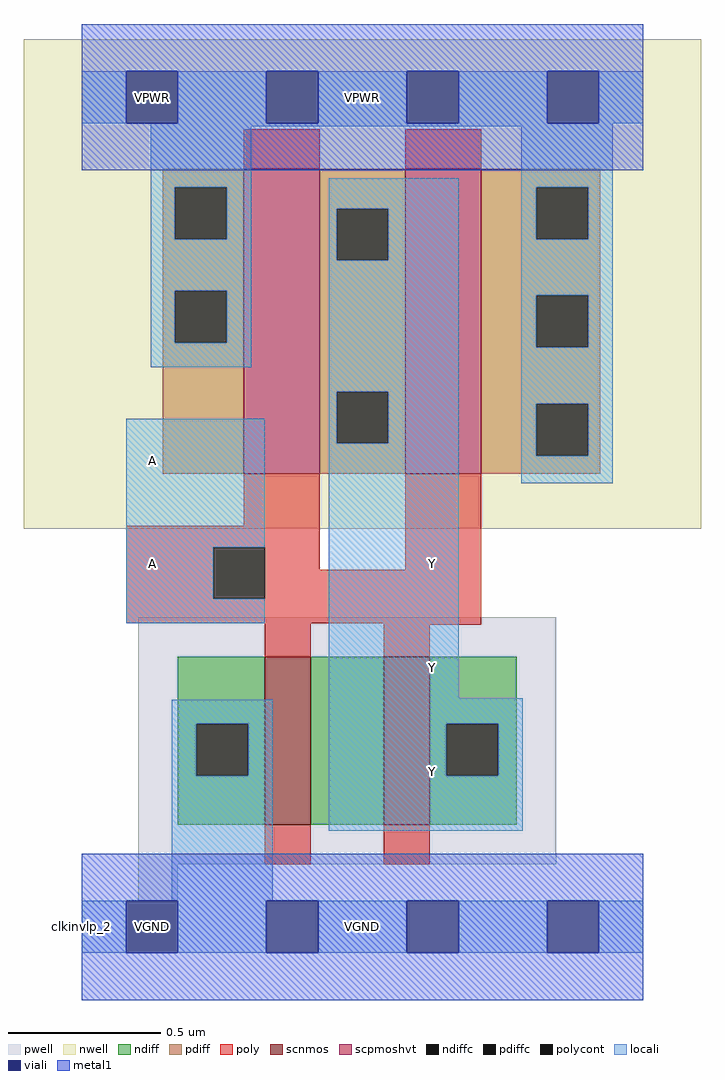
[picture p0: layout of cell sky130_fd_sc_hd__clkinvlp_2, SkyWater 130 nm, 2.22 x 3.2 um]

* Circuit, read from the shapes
.subckt sky130_fd_sc_hd__clkinvlp_2 A VGND VNB VPB VPWR Y
XM1 n1 A VGND VNB sky130_fd_pr__nfet_01v8 w=0.55 l=0.15
XM2 Y A n1 VNB sky130_fd_pr__nfet_01v8 w=0.55 l=0.15
XM3 Y A VPWR VPB sky130_fd_pr__pfet_01v8_hvt w=1 l=0.25 m=2
.ends

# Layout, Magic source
magic
tech sky130B
magscale 1 2
<< nwell >>
rect -38 261 406 582
<< pwell >>
rect 37 41 311 203
rect 37 17 63 41
rect 29 -17 63 17
<< scnmos >>
rect 120 67 150 177
rect 198 67 228 177
<< scpmoshvt >>
rect 106 297 156 497
rect 212 297 262 497
<< ndiff >>
rect 63 133 120 177
rect 63 99 75 133
rect 109 99 120 133
rect 63 67 120 99
rect 150 67 198 177
rect 228 133 285 177
rect 228 99 239 133
rect 273 99 285 133
rect 228 67 285 99
<< pdiff >>
rect 53 485 106 497
rect 53 451 61 485
rect 95 451 106 485
rect 53 417 106 451
rect 53 383 61 417
rect 95 383 106 417
rect 53 297 106 383
rect 156 471 212 497
rect 156 437 167 471
rect 201 437 212 471
rect 156 351 212 437
rect 156 317 167 351
rect 201 317 212 351
rect 156 297 212 317
rect 262 485 340 497
rect 262 451 298 485
rect 332 451 340 485
rect 262 414 340 451
rect 262 380 298 414
rect 332 380 340 414
rect 262 343 340 380
rect 262 309 298 343
rect 332 309 340 343
rect 262 297 340 309
<< ndiffc >>
rect 75 99 109 133
rect 239 99 273 133
<< pdiffc >>
rect 61 451 95 485
rect 61 383 95 417
rect 167 437 201 471
rect 167 317 201 351
rect 298 451 332 485
rect 298 380 332 414
rect 298 309 332 343
<< poly >>
rect 106 497 156 523
rect 212 497 262 523
rect 106 263 156 297
rect 29 249 156 263
rect 29 215 86 249
rect 120 234 156 249
rect 212 234 262 297
rect 120 215 262 234
rect 29 199 262 215
rect 120 177 150 199
rect 198 198 262 199
rect 198 177 228 198
rect 120 41 150 67
rect 198 41 228 67
<< polycont >>
rect 86 215 120 249
<< locali >>
rect 0 527 29 561
rect 63 527 121 561
rect 155 527 213 561
rect 247 527 305 561
rect 339 527 368 561
rect 45 525 348 527
rect 45 485 111 525
rect 45 451 61 485
rect 95 451 111 485
rect 45 417 111 451
rect 45 383 61 417
rect 95 383 111 417
rect 45 367 111 383
rect 162 471 247 491
rect 162 437 167 471
rect 201 437 247 471
rect 162 351 247 437
rect 29 249 120 333
rect 29 215 86 249
rect 29 199 120 215
rect 162 317 167 351
rect 201 317 247 351
rect 162 150 247 317
rect 288 485 348 525
rect 288 451 298 485
rect 332 451 348 485
rect 288 414 348 451
rect 288 380 298 414
rect 332 380 348 414
rect 288 343 348 380
rect 288 309 298 343
rect 332 309 348 343
rect 288 291 348 309
rect 59 133 125 149
rect 59 99 75 133
rect 109 99 125 133
rect 59 17 125 99
rect 162 133 289 150
rect 162 99 239 133
rect 273 99 289 133
rect 162 63 289 99
rect 0 -17 29 17
rect 63 -17 121 17
rect 155 -17 213 17
rect 247 -17 305 17
rect 339 -17 368 17
<< viali >>
rect 29 527 63 561
rect 121 527 155 561
rect 213 527 247 561
rect 305 527 339 561
rect 29 -17 63 17
rect 121 -17 155 17
rect 213 -17 247 17
rect 305 -17 339 17
<< metal1 >>
rect 0 561 368 592
rect 0 527 29 561
rect 63 527 121 561
rect 155 527 213 561
rect 247 527 305 561
rect 339 527 368 561
rect 0 496 368 527
rect 0 17 368 48
rect 0 -17 29 17
rect 63 -17 121 17
rect 155 -17 213 17
rect 247 -17 305 17
rect 339 -17 368 17
rect 0 -48 368 -17
<< labels >>
flabel metal1 s 29 -17 63 17 0 FreeSans 200 0 0 0 VGND
port 2 nsew ground bidirectional abutment
flabel metal1 s 29 527 63 561 0 FreeSans 200 0 0 0 VPWR
port 5 nsew power bidirectional abutment
flabel locali s 213 153 247 187 0 FreeSans 200 0 0 0 Y
port 6 nsew signal output
flabel locali s 213 221 247 255 0 FreeSans 200 0 0 0 Y
port 6 nsew signal output
flabel locali s 29 289 63 323 0 FreeSans 200 0 0 0 A
port 1 nsew signal input
flabel locali s 213 85 247 119 0 FreeSans 200 0 0 0 Y
port 6 nsew signal output
flabel locali s 29 221 63 255 0 FreeSans 200 0 0 0 A
port 1 nsew signal input
flabel nwell s 29 527 63 561 0 FreeSans 200 0 0 0 VPB
port 4 nsew power bidirectional
flabel pwell s 29 -17 63 17 0 FreeSans 200 0 0 0 VNB
port 3 nsew ground bidirectional
rlabel comment s 0 0 0 0 4 clkinvlp_2
rlabel metal1 s 0 -48 368 48 1 VGND
port 2 nsew ground bidirectional abutment
rlabel metal1 s 0 496 368 592 1 VPWR
port 5 nsew power bidirectional abutment
<< properties >>
string FIXED_BBOX 0 0 368 544
string GDS_END 3339856
string GDS_FILE $PDKPATH/libs.ref/sky130_fd_sc_hd/gds/sky130_fd_sc_hd.gds
string GDS_START 3336266
string LEFclass CORE
string LEFsite unithd
string LEFsymmetry X Y R90
string path 0.000 0.000 9.200 0.000 
<< end >>
